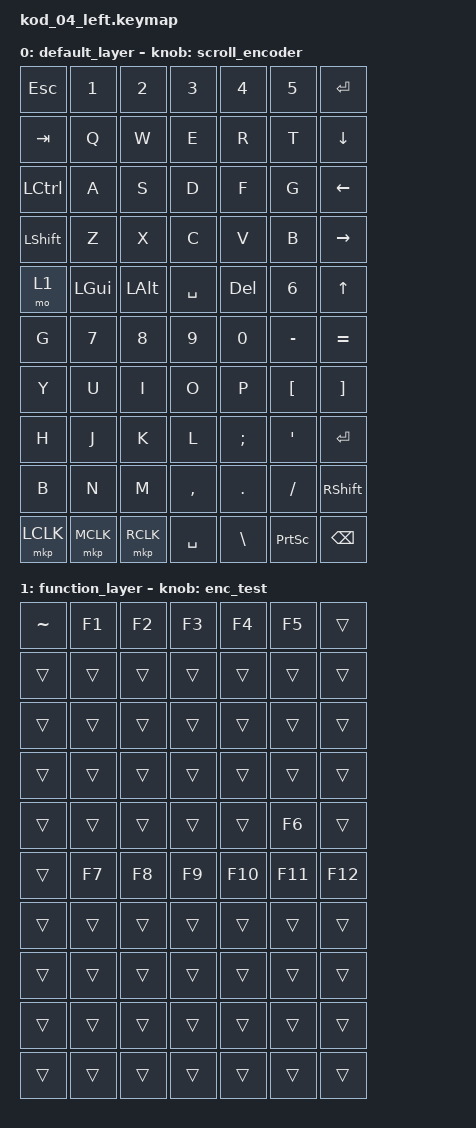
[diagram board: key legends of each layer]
#include <behaviors.dtsi>
#include <dt-bindings/zmk/keys.h>
#include <dt-bindings/zmk/mouse.h>
#include <dt-bindings/zmk/bt.h>
#define ZMK_POINTING_DEFAULT_SCRL_VAL 100
#include <dt-bindings/zmk/pointing.h>
/ {
    scroll_encoder: scroll_encoder {
        compatible = "zmk,behavior-sensor-rotate";
        #sensor-binding-cells = <0>;
        bindings = <&msc SCRL_DOWN>, <&msc SCRL_UP>;
        tap-ms = <60>;
    };

  behaviors {
    enc_test: enc_test {
      compatible = "zmk,behavior-sensor-rotate";
      #sensor-binding-cells = <0>;
      bindings = <&kp PG_UP>, <&kp PG_DN>;
    };
  };

  keymap {
    compatible = "zmk,keymap";
    default_layer {
    sensor-bindings = <&scroll_encoder>;
      bindings = <
        // 左手35キー
        &kp ESC   &kp N1    &kp N2    &kp N3    &kp N4    &kp N5    &kp RET
        &kp TAB   &kp Q     &kp W     &kp E     &kp R     &kp T     &kp DOWN
        &kp LCTRL &kp A     &kp S     &kp D     &kp F     &kp G     &kp LEFT
        &kp LSHFT &kp Z     &kp X     &kp C     &kp V     &kp B     &kp RIGHT
        &mo 1     &kp LGUI  &kp LALT  &kp SPACE &kp DEL   &kp N6    &kp UP
        
        // 右手35キー
        &kp G     &kp N7    &kp N8    &kp N9    &kp N0    &kp MINUS &kp EQUAL
        &kp Y     &kp U     &kp I     &kp O     &kp P     &kp LBKT  &kp RBKT
        &kp H     &kp J     &kp K     &kp L     &kp SEMI  &kp APOS  &kp RET
        &kp B     &kp N     &kp M     &kp COMMA &kp DOT   &kp FSLH  &kp RSHFT
        &mkp LCLK &mkp MCLK &mkp RCLK &kp SPACE &kp BSLH  &kp PSCRN &kp BSPC
      >;
    };
    
    function_layer {
      sensor-bindings = <&enc_test>;
      bindings = <
        // 左手35キー
        &kp TILDE &kp F1    &kp F2    &kp F3    &kp F4    &kp F5    &trans
        &trans    &trans    &trans    &trans    &trans    &trans    &trans
        &trans    &trans    &trans    &trans    &trans    &trans    &trans
        &trans    &trans    &trans    &trans    &trans    &trans    &trans
        &trans    &trans    &trans    &trans    &trans    &kp F6    &trans
        
        // 右手35キー
        &trans    &kp F7    &kp F8    &kp F9    &kp F10   &kp F11   &kp F12
        &trans    &trans    &trans    &trans    &trans    &trans    &trans
        &trans    &trans    &trans    &trans    &trans    &trans    &trans
        &trans    &trans    &trans    &trans    &trans    &trans    &trans
        &trans    &trans    &trans    &trans    &trans    &trans    &trans
      >;
    };
  };
};
